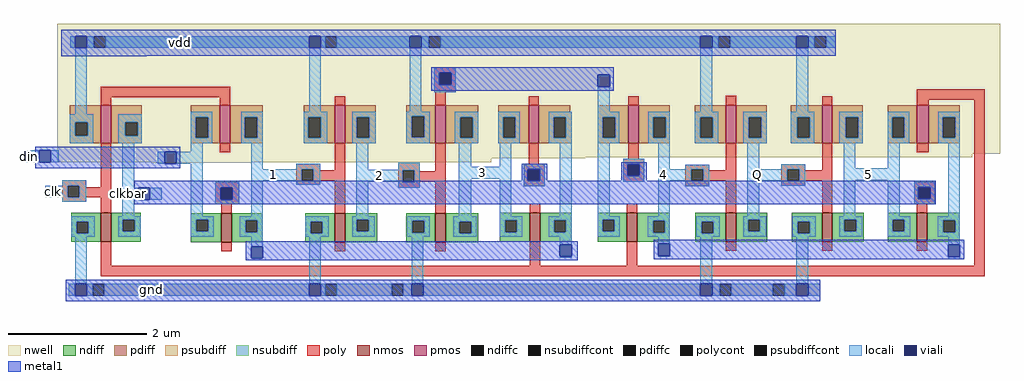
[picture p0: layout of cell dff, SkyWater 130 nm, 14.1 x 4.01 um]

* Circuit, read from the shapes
.subckt dff 1 2 3 4 5 Q clk clkbar din gnd vdd
XM1 clkbar clk gnd gnd sky130_fd_pr__nfet_01v8 w=0.42 l=0.15
XM2 1 clkbar din gnd sky130_fd_pr__nfet_01v8 w=0.42 l=0.15
XM3 2 1 gnd gnd sky130_fd_pr__nfet_01v8 w=0.42 l=0.15
XM4 3 2 gnd gnd sky130_fd_pr__nfet_01v8 w=0.42 l=0.15
XM5 1 clk 3 gnd sky130_fd_pr__nfet_01v8 w=0.42 l=0.15
XM6 4 clk 2 gnd sky130_fd_pr__nfet_01v8 w=0.42 l=0.15
XM7 Q 4 gnd gnd sky130_fd_pr__nfet_01v8 w=0.42 l=0.15
XM8 5 Q gnd gnd sky130_fd_pr__nfet_01v8 w=0.42 l=0.15
XM9 4 clkbar 5 gnd sky130_fd_pr__nfet_01v8 w=0.42 l=0.15
XM10 clkbar clk vdd vdd sky130_fd_pr__pfet_01v8 w=0.55 l=0.15
XM11 1 clk din vdd sky130_fd_pr__pfet_01v8 w=0.55 l=0.15
XM12 2 1 vdd vdd sky130_fd_pr__pfet_01v8 w=0.55 l=0.15
XM13 3 2 vdd vdd sky130_fd_pr__pfet_01v8 w=0.55 l=0.15
XM14 1 clkbar 3 vdd sky130_fd_pr__pfet_01v8 w=0.55 l=0.15
XM15 4 clkbar 2 vdd sky130_fd_pr__pfet_01v8 w=0.55 l=0.15
XM16 Q 4 vdd vdd sky130_fd_pr__pfet_01v8 w=0.55 l=0.15
XM17 5 Q vdd vdd sky130_fd_pr__pfet_01v8 w=0.55 l=0.15
XM18 4 clk 5 vdd sky130_fd_pr__pfet_01v8 w=0.55 l=0.17
.ends

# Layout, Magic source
magic
tech sky130A
<< nwell >>
rect -691 98 671 286
rect -691 93 631 98
rect -691 92 72 93
rect -691 91 -63 92
rect -691 86 -64 91
rect -554 85 -411 86
<< nmos >>
rect -628 -29 -613 13
rect -454 -30 -439 12
rect -290 -30 -275 12
rect -145 -30 -130 12
rect -8 -29 7 13
rect 132 -29 147 13
rect 275 -29 290 13
rect 414 -29 429 13
rect 551 -29 566 13
<< pmos >>
rect -628 113 -613 168
rect -456 113 -441 168
rect -290 113 -275 168
rect -145 113 -130 168
rect -10 113 5 168
rect 134 113 149 168
rect 275 113 290 168
rect 414 113 429 168
rect 551 113 568 168
<< ndiff >>
rect -671 0 -628 13
rect -671 -17 -663 0
rect -646 -17 -628 0
rect -671 -29 -628 -17
rect -613 3 -570 13
rect -613 -14 -596 3
rect -579 -14 -570 3
rect -613 -29 -570 -14
rect -498 3 -454 12
rect -498 -14 -490 3
rect -473 -14 -454 3
rect -498 -30 -454 -14
rect -439 2 -394 12
rect -439 -15 -419 2
rect -402 -15 -394 2
rect -439 -30 -394 -15
rect -333 0 -290 12
rect -333 -17 -325 0
rect -308 -17 -290 0
rect -333 -30 -290 -17
rect -275 3 -229 12
rect -275 -14 -258 3
rect -241 -14 -229 3
rect -275 -30 -229 -14
rect -187 1 -145 12
rect -187 -16 -178 1
rect -161 -16 -145 1
rect -187 -30 -145 -16
rect -130 0 -83 12
rect -130 -17 -110 0
rect -93 -17 -83 0
rect -130 -30 -83 -17
rect -52 2 -8 13
rect -52 -15 -44 2
rect -27 -15 -8 2
rect -52 -29 -8 -15
rect 7 2 52 13
rect 7 -15 27 2
rect 44 -15 52 2
rect 7 -29 52 -15
rect 90 3 132 13
rect 90 -14 97 3
rect 114 -14 132 3
rect 90 -29 132 -14
rect 147 1 194 13
rect 147 -16 170 1
rect 187 -16 194 1
rect 147 -29 194 -16
rect 231 0 275 13
rect 231 -17 240 0
rect 257 -17 275 0
rect 231 -29 275 -17
rect 290 3 335 13
rect 290 -14 307 3
rect 324 -14 335 3
rect 290 -29 335 -14
rect 370 0 414 13
rect 370 -17 379 0
rect 396 -17 414 0
rect 370 -29 414 -17
rect 429 3 474 13
rect 429 -14 446 3
rect 463 -14 474 3
rect 429 -29 474 -14
rect 509 3 551 13
rect 509 -14 516 3
rect 533 -14 551 3
rect 509 -29 551 -14
rect 566 2 613 13
rect 566 -15 589 2
rect 606 -15 613 2
rect 566 -29 613 -15
<< pdiff >>
rect -673 144 -628 168
rect -673 124 -665 144
rect -647 124 -628 144
rect -673 113 -628 124
rect -613 144 -569 168
rect -613 124 -593 144
rect -575 124 -569 144
rect -613 113 -569 124
rect -498 151 -456 168
rect -498 121 -491 151
rect -473 121 -456 151
rect -498 113 -456 121
rect -441 151 -394 168
rect -441 121 -420 151
rect -402 121 -394 151
rect -441 113 -394 121
rect -335 151 -290 168
rect -335 121 -328 151
rect -310 121 -290 151
rect -335 113 -290 121
rect -275 151 -231 168
rect -275 121 -258 151
rect -240 121 -231 151
rect -275 113 -231 121
rect -187 152 -145 168
rect -187 122 -179 152
rect -161 122 -145 152
rect -187 113 -145 122
rect -130 151 -83 168
rect -130 121 -109 151
rect -91 121 -83 151
rect -130 113 -83 121
rect -54 151 -10 168
rect -54 121 -47 151
rect -29 121 -10 151
rect -54 113 -10 121
rect 5 159 50 168
rect 5 151 52 159
rect 5 121 26 151
rect 44 121 52 151
rect 5 113 52 121
rect 90 151 134 168
rect 90 121 97 151
rect 115 121 134 151
rect 90 113 134 121
rect 149 151 194 168
rect 149 121 170 151
rect 188 121 194 151
rect 149 113 194 121
rect 230 151 275 168
rect 230 121 238 151
rect 256 121 275 151
rect 230 113 275 121
rect 290 151 334 168
rect 290 121 308 151
rect 326 121 334 151
rect 290 113 334 121
rect 369 151 414 168
rect 369 121 378 151
rect 396 121 414 151
rect 369 113 414 121
rect 429 151 473 168
rect 429 121 448 151
rect 466 121 473 151
rect 429 113 473 121
rect 509 151 551 168
rect 509 121 515 151
rect 533 121 551 151
rect 509 113 551 121
rect 568 151 613 168
rect 568 121 588 151
rect 606 121 613 151
rect 568 113 613 121
<< ndiffc >>
rect -663 -17 -646 0
rect -596 -14 -579 3
rect -490 -14 -473 3
rect -419 -15 -402 2
rect -325 -17 -308 0
rect -258 -14 -241 3
rect -178 -16 -161 1
rect -110 -17 -93 0
rect -44 -15 -27 2
rect 27 -15 44 2
rect 97 -14 114 3
rect 170 -16 187 1
rect 240 -17 257 0
rect 307 -14 324 3
rect 379 -17 396 0
rect 446 -14 463 3
rect 516 -14 533 3
rect 589 -15 606 2
<< pdiffc >>
rect -665 124 -647 144
rect -593 124 -575 144
rect -491 121 -473 151
rect -420 121 -402 151
rect -328 121 -310 151
rect -258 121 -240 151
rect -179 122 -161 152
rect -109 121 -91 151
rect -47 121 -29 151
rect 26 121 44 151
rect 97 121 115 151
rect 170 121 188 151
rect 238 121 256 151
rect 308 121 326 151
rect 378 121 396 151
rect 448 121 466 151
rect 515 121 533 151
rect 588 121 606 151
<< psubdiff >>
rect -674 -107 -640 -90
rect -623 -107 -304 -90
rect -287 -107 -208 -90
rect -191 -107 266 -90
rect 283 -107 343 -90
rect 360 -107 411 -90
<< nsubdiff >>
rect -672 251 -638 268
rect -621 251 -304 268
rect -287 251 -154 268
rect -137 251 264 268
rect 281 251 403 268
rect 420 251 434 268
<< psubdiffcont >>
rect -640 -107 -623 -90
rect -304 -107 -287 -90
rect -208 -107 -191 -90
rect 266 -107 283 -90
rect 343 -107 360 -90
<< nsubdiffcont >>
rect -638 251 -621 268
rect -304 251 -287 268
rect -154 251 -137 268
rect 264 251 281 268
rect 403 251 420 268
<< poly >>
rect -146 215 -115 223
rect -146 198 -139 215
rect -122 198 -115 215
rect -628 180 -441 195
rect -146 187 -115 198
rect -628 168 -613 180
rect -456 168 -441 180
rect -290 168 -275 181
rect -145 168 -130 187
rect -10 168 5 181
rect 134 168 149 181
rect 275 168 290 182
rect 414 168 429 181
rect 551 176 649 191
rect 551 168 568 176
rect -684 52 -649 60
rect -684 35 -676 52
rect -659 50 -649 52
rect -628 50 -613 113
rect -456 100 -441 113
rect -346 76 -311 84
rect -346 59 -338 76
rect -321 74 -311 76
rect -290 74 -275 113
rect -321 59 -275 74
rect -659 35 -613 50
rect -684 29 -649 35
rect -628 13 -613 35
rect -463 49 -428 58
rect -346 53 -311 59
rect -463 32 -455 49
rect -438 32 -428 49
rect -463 25 -428 32
rect -454 12 -439 25
rect -290 12 -275 59
rect -198 74 -167 85
rect -198 57 -192 74
rect -175 73 -167 74
rect -145 73 -130 113
rect -10 84 5 113
rect 134 91 149 113
rect -175 58 -130 73
rect -175 57 -167 58
rect -198 49 -167 57
rect -145 12 -130 58
rect -17 76 13 84
rect -17 59 -11 76
rect 6 59 13 76
rect -17 51 13 59
rect 127 83 157 91
rect 127 66 133 83
rect 150 66 157 83
rect 127 58 157 66
rect 216 76 251 82
rect 216 59 225 76
rect 242 74 251 76
rect 275 74 290 113
rect 242 59 290 74
rect 216 51 251 59
rect -8 13 7 26
rect 132 13 147 26
rect 275 13 290 59
rect 355 76 390 83
rect 355 59 364 76
rect 381 74 390 76
rect 414 74 429 113
rect 551 100 568 113
rect 381 59 429 74
rect 355 52 390 59
rect 414 13 429 59
rect 547 50 577 58
rect 547 33 553 50
rect 570 33 577 50
rect 547 25 577 33
rect 551 13 566 25
rect -628 -64 -613 -29
rect -454 -43 -439 -30
rect -290 -43 -275 -30
rect -145 -43 -130 -30
rect -8 -64 7 -29
rect 132 -64 147 -29
rect 275 -42 290 -29
rect 414 -42 429 -29
rect 551 -42 566 -29
rect 634 -64 649 176
rect -628 -79 649 -64
<< polycont >>
rect -139 198 -122 215
rect -676 35 -659 52
rect -338 59 -321 76
rect -455 32 -438 49
rect -192 57 -175 74
rect -11 59 6 76
rect 133 66 150 83
rect 225 59 242 76
rect 364 59 381 76
rect 553 33 570 50
<< locali >>
rect -672 251 -665 268
rect -648 251 -638 268
rect -621 251 -327 268
rect -310 251 -304 268
rect -287 251 -182 268
rect -165 251 -154 268
rect -137 251 238 268
rect 255 251 264 268
rect 281 251 377 268
rect 394 251 403 268
rect 420 251 434 268
rect -665 155 -648 251
rect -327 159 -310 251
rect -182 159 -165 251
rect -146 215 -115 223
rect -146 198 -139 215
rect -122 198 -115 215
rect -146 187 -115 198
rect 90 159 107 195
rect 238 159 255 251
rect 377 159 394 251
rect -673 144 -639 155
rect -673 124 -665 144
rect -647 124 -639 144
rect -673 113 -639 124
rect -603 144 -569 155
rect -603 124 -593 144
rect -575 124 -569 144
rect -603 113 -569 124
rect -498 151 -467 159
rect -498 121 -491 151
rect -473 121 -467 151
rect -498 113 -467 121
rect -425 151 -394 159
rect -425 121 -420 151
rect -402 121 -394 151
rect -425 113 -394 121
rect -335 151 -301 159
rect -335 121 -328 151
rect -310 121 -301 151
rect -335 113 -301 121
rect -265 151 -231 159
rect -265 121 -258 151
rect -240 121 -231 151
rect -265 113 -231 121
rect -187 152 -153 159
rect -187 122 -179 152
rect -161 122 -153 152
rect -187 113 -153 122
rect -117 151 -83 159
rect -117 121 -109 151
rect -91 121 -83 151
rect -117 113 -83 121
rect -54 151 -23 159
rect -54 121 -47 151
rect -29 121 -23 151
rect -54 113 -23 121
rect 19 151 52 159
rect 19 121 26 151
rect 44 121 52 151
rect 19 113 52 121
rect -739 86 -717 103
rect -700 86 -689 103
rect -684 52 -649 60
rect -708 35 -676 52
rect -659 35 -649 52
rect -684 29 -649 35
rect -597 49 -580 113
rect -498 101 -481 113
rect -546 84 -536 101
rect -519 84 -481 101
rect -597 32 -574 49
rect -557 32 -540 49
rect -597 8 -580 32
rect -498 8 -481 84
rect -411 76 -394 113
rect -346 76 -311 84
rect -411 59 -338 76
rect -321 59 -311 76
rect -463 49 -428 58
rect -463 32 -455 49
rect -438 32 -428 49
rect -463 25 -428 32
rect -411 8 -394 59
rect -346 53 -311 59
rect -259 75 -242 113
rect -198 75 -167 85
rect -259 74 -167 75
rect -259 58 -192 74
rect -259 8 -242 58
rect -198 57 -192 58
rect -175 57 -167 74
rect -198 49 -167 57
rect -111 79 -93 113
rect -52 79 -35 113
rect -111 62 -35 79
rect -111 8 -93 62
rect -52 8 -35 62
rect -17 76 13 84
rect -17 59 -11 76
rect 6 59 13 76
rect -17 51 13 59
rect 35 8 52 113
rect -671 0 -637 8
rect -671 -17 -663 0
rect -646 -17 -637 0
rect -671 -22 -637 -17
rect -603 3 -570 8
rect -603 -14 -596 3
rect -579 -14 -570 3
rect -603 -22 -570 -14
rect -498 3 -465 8
rect -498 -14 -490 3
rect -473 -14 -465 3
rect -498 -22 -465 -14
rect -427 2 -394 8
rect -427 -15 -419 2
rect -402 -15 -394 2
rect -427 -22 -394 -15
rect -333 0 -299 8
rect -333 -17 -325 0
rect -308 -17 -299 0
rect -333 -22 -299 -17
rect -265 3 -232 8
rect -265 -14 -258 3
rect -241 -14 -232 3
rect -265 -22 -232 -14
rect -186 1 -153 8
rect -186 -16 -178 1
rect -161 -16 -153 1
rect -186 -22 -153 -16
rect -119 0 -85 8
rect -119 -17 -110 0
rect -93 -17 -85 0
rect -119 -22 -85 -17
rect -52 2 -19 8
rect -52 -15 -44 2
rect -27 -15 -19 2
rect -52 -22 -19 -15
rect 19 2 52 8
rect 19 -15 27 2
rect 44 -15 52 2
rect 19 -22 52 -15
rect 90 151 121 159
rect 90 121 97 151
rect 115 121 121 151
rect 90 113 121 121
rect 163 151 194 159
rect 163 121 170 151
rect 188 121 194 151
rect 163 113 194 121
rect 230 151 264 159
rect 230 121 238 151
rect 256 121 264 151
rect 230 113 264 121
rect 300 151 334 159
rect 300 121 308 151
rect 326 121 334 151
rect 300 113 334 121
rect 369 151 403 159
rect 369 121 378 151
rect 396 121 403 151
rect 369 113 403 121
rect 439 151 473 159
rect 439 121 448 151
rect 466 121 473 151
rect 439 113 473 121
rect 509 151 540 159
rect 509 121 515 151
rect 533 121 540 151
rect 509 113 540 121
rect 582 151 613 159
rect 582 121 588 151
rect 606 121 613 151
rect 582 113 613 121
rect 90 8 107 113
rect 127 83 157 91
rect 127 66 133 83
rect 150 66 157 83
rect 127 58 157 66
rect 177 76 194 113
rect 216 76 251 82
rect 177 59 225 76
rect 242 59 251 76
rect 177 8 194 59
rect 216 51 251 59
rect 306 76 323 113
rect 355 76 390 83
rect 306 59 364 76
rect 381 59 390 76
rect 306 8 323 59
rect 355 52 390 59
rect 445 77 462 113
rect 509 77 526 113
rect 445 60 526 77
rect 445 8 462 60
rect 509 8 526 60
rect 547 50 577 58
rect 547 33 553 50
rect 570 33 577 50
rect 547 25 577 33
rect 596 8 613 113
rect 90 3 122 8
rect 90 -14 97 3
rect 114 -14 122 3
rect 90 -22 122 -14
rect 162 1 194 8
rect 162 -16 170 1
rect 187 -16 194 1
rect 162 -22 194 -16
rect 232 0 266 8
rect 232 -17 240 0
rect 257 -17 266 0
rect 232 -22 266 -17
rect 300 3 333 8
rect 300 -14 307 3
rect 324 -14 333 3
rect 300 -22 333 -14
rect 371 0 405 8
rect 371 -17 379 0
rect 396 -17 405 0
rect 371 -22 405 -17
rect 439 3 472 8
rect 439 -14 446 3
rect 463 -14 472 3
rect 439 -22 472 -14
rect 509 3 541 8
rect 509 -14 516 3
rect 533 -14 541 3
rect 509 -22 541 -14
rect 581 2 613 8
rect 581 -15 589 2
rect 606 -15 613 2
rect 581 -22 613 -15
rect -665 -90 -648 -22
rect -411 -36 -394 -22
rect -327 -90 -310 -22
rect -179 -90 -162 -22
rect 35 -33 52 -22
rect 35 -52 52 -50
rect 177 -32 194 -22
rect 177 -51 194 -49
rect 238 -90 255 -22
rect 377 -90 394 -22
rect 596 -33 613 -22
rect 596 -54 613 -51
rect -674 -107 -665 -90
rect -648 -107 -640 -90
rect -623 -107 -327 -90
rect -310 -107 -304 -90
rect -287 -107 -208 -90
rect -191 -107 -179 -90
rect -162 -107 238 -90
rect 255 -107 266 -90
rect 283 -107 343 -90
rect 360 -107 377 -90
rect 394 -107 411 -90
<< viali >>
rect -665 251 -648 268
rect -327 251 -310 268
rect -182 251 -165 268
rect 238 251 255 268
rect 377 251 394 268
rect -139 198 -122 215
rect 90 195 107 212
rect -717 86 -700 103
rect -536 84 -519 101
rect -574 32 -557 49
rect -455 32 -438 49
rect -11 59 6 76
rect 133 66 150 83
rect 553 33 570 50
rect -411 -53 -394 -36
rect 35 -50 52 -33
rect 177 -49 194 -32
rect 596 -51 613 -33
rect -665 -107 -648 -90
rect -327 -107 -310 -90
rect -179 -107 -162 -90
rect 238 -107 255 -90
rect 377 -107 394 -90
<< metal1 >>
rect -685 268 434 277
rect -685 251 -665 268
rect -648 251 -327 268
rect -310 251 -182 268
rect -165 251 238 268
rect 255 251 377 268
rect 394 251 434 268
rect -685 240 434 251
rect -685 239 -562 240
rect -151 215 113 223
rect -151 198 -139 215
rect -122 212 113 215
rect -122 198 90 212
rect -151 195 90 198
rect 107 195 113 212
rect -151 189 113 195
rect -723 103 -513 108
rect -723 86 -717 103
rect -700 101 -513 103
rect -700 86 -536 101
rect -723 84 -536 86
rect -519 84 -513 101
rect -723 77 -513 84
rect -20 76 17 84
rect -20 59 -11 76
rect 6 59 17 76
rect 124 83 161 86
rect 124 66 133 83
rect 150 66 161 83
rect 124 59 161 66
rect -580 50 578 59
rect -580 49 553 50
rect -580 32 -574 49
rect -557 32 -455 49
rect -438 33 553 49
rect 570 33 578 50
rect -438 32 578 33
rect -580 25 578 32
rect -419 -33 61 -28
rect -419 -36 35 -33
rect -419 -53 -411 -36
rect -394 -50 35 -36
rect 52 -50 61 -33
rect -394 -53 61 -50
rect -419 -56 61 -53
rect 171 -32 619 -26
rect 171 -49 177 -32
rect 194 -33 619 -32
rect 194 -49 596 -33
rect 171 -51 596 -49
rect 613 -51 619 -33
rect 171 -54 619 -51
rect -679 -90 411 -84
rect -679 -107 -665 -90
rect -648 -107 -327 -90
rect -310 -107 -179 -90
rect -162 -107 238 -90
rect 255 -107 377 -90
rect 394 -107 411 -90
rect -679 -115 411 -107
<< labels >>
flabel locali -597 32 -579 49 0 FreeSans 72 0 0 0 clkbar
flabel locali -234 58 -216 75 0 FreeSans 80 0 0 0 2
flabel locali -85 62 -68 79 0 FreeSans 80 0 0 0 3
flabel locali 177 59 194 76 0 FreeSans 80 0 0 0 4
flabel locali 471 60 490 77 0 FreeSans 80 0 0 0 5
flabel metal1 -541 252 -484 267 0 FreeSans 152 0 0 0 vdd
flabel metal1 -591 -106 -519 -90 0 FreeSans 152 0 0 0 gnd
flabel locali -738 87 -724 102 0 FreeSans 120 0 0 0 din
flabel locali 306 59 336 76 0 FreeSans 120 0 0 0 Q
flabel locali -707 36 -685 51 0 FreeSans 120 0 0 0 clk
flabel locali -394 59 -364 76 0 FreeSans 120 0 0 0 1
<< end >>
